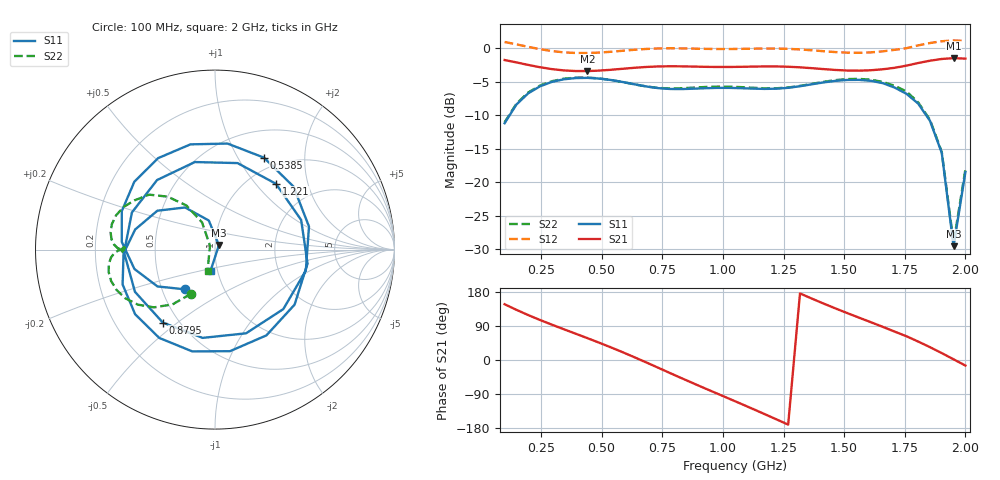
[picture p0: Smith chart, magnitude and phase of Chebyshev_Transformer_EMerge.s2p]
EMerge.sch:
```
<Qucs Schematic 25.1.2>
<Properties>
  <View=422,127,787,332,4.32143,0,0>
  <Grid=10,10,1>
  <DataSet=EMerge.dat>
  <DataDisplay=EMerge.dpl>
  <OpenDisplay=0>
  <Script=EMerge.m>
  <RunScript=0>
  <showFrame=0>
  <FrameText0=Title>
  <FrameText1=Drawn By:>
  <FrameText2=Date:>
  <FrameText3=Revision:>
</Properties>
<Symbol>
  <.ID 110 54 SUB>
  <.PortSym -110 0 1 0 P1>
  <.PortSym 370 0 2 180 P2>
  <Rectangle 0 -10 80 20 #000000 1 1 #ffaa00 1 1>
  <Rectangle 80 -20 80 40 #000000 1 1 #ffaa00 1 1>
  <Rectangle 160 -40 90 70 #000000 1 1 #ffaa00 1 1>
  <Line -110 0 30 0 #000000 1 1>
  <Line 340 0 30 0 #000000 1 1>
  <Text 70 -70 11 #000000 0 "EMerge (S-par file)">
  <Text 10 -10 15 #000000 0 "41.3 Ω">
  <Text 90 -10 15 #000000 0 "27.4 Ω">
  <Text 180 -10 15 #000000 0 "18.2 Ω">
  <Rectangle 250 -60 90 100 #000000 1 1 #ffaa00 1 1>
  <Text 270 -20 15 #000000 0 "15 Ω">
  <Rectangle -80 -10 80 20 #000000 1 1 #ffaa00 1 1>
  <Text -60 -10 15 #000000 0 "50 Ω">
</Symbol>
<Components>
  <GND * 1 570 260 0 0 0 0>
  <Port P1 1 490 230 -23 12 0 0 "1" 1 "analog" 0>
  <Port P2 1 650 230 4 -46 0 2 "2" 1 "analog" 0>
  <SPfile X1 1 570 230 -26 -55 0 0 "Chebyshev_Transformer_EMerge.s2p" 1 "rectangular" 0 "linear" 0 "open" 0 "2" 0>
</Components>
<Wires>
  <490 230 540 230 "" 0 0 0 "">
  <600 230 650 230 "" 0 0 0 "">
</Wires>
<Diagrams>
</Diagrams>
<Paintings>
</Paintings>
```
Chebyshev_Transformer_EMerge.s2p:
! Generated on: 2025-06-29 14:45:02
! Project: {project_name}
! Simulation software: EMerge
# Hz S RI R 50
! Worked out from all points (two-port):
!   40 points, 100 MHz to 2 GHz, reference 50 ohm
!   highest |S21| = -1.46 dB at 1.951 GHz (marker M1); lowest = -3.4 dB at 441 MHz (marker M2)
!   |S21| within 3 dB of the highest: start of sweep to end of sweep
!   lowest |S11| = -29.6 dB at 1.951 GHz (marker M3), VSWR 1.07, Z = 52.2 + j2.62 ohm
!   |S11| at or under -10 dB: start of sweep to 120.6 MHz; 1.838 GHz to end of sweep
!   |S22| runs from -29.0 to -4.4 dB; largest |S21 - S12| = 0.3
!   S11 on the Smith chart (normalised r, x): 100 MHz: 0.66, -0.32; 538.5 MHz: 0.84, +1.30; 879.5 MHz: 0.41, -0.44; 1.221 GHz: 1.31, +1.29; 2 GHz: 0.93, -0.22
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1e8  -0.1647 -0.2215  -0.6877 0.4437  -0.9384 0.6053  -0.1336 -0.2463
4.410256e8  -0.1368 0.5863  0.3611 0.5725  0.4924 0.7808  -0.5926 -0.1242
5.384615e8  0.2733 0.5121  0.5784 0.3801  0.7886 0.5183  -0.5793 -0.0438
8.794872e8  -0.2903 -0.407  0.3441 -0.6452  0.4683 -0.8791  -0.5089 -0.0182
1.074359e9  -0.3227 0.3877  -0.3127 -0.6579  -0.4264 -0.8952  -0.5136 0.0097
1.220513e9  0.3396 0.3667  -0.6727 -0.2913  -0.9156 -0.3954  -0.5035 0.00686
1.415385e9  0.2866 -0.4778  -0.5997 0.3616  -0.8149 0.493  -0.562 0.0275
1.610256e9  -0.445 -0.3601  -0.1158 0.6766  -0.1555 0.9206  -0.5511 0.1909
1.853846e9  -0.1667 0.2347  0.6713 0.4512  0.9109 0.6105  -0.1594 0.246
1.951282e9  0.0219 0.0251  0.8447 0.027  1.146 0.0351  -0.0277 0.0219
2e9  -0.0241 -0.1165  0.8115 -0.2122  1.1 -0.2892  -0.0417 -0.1173
